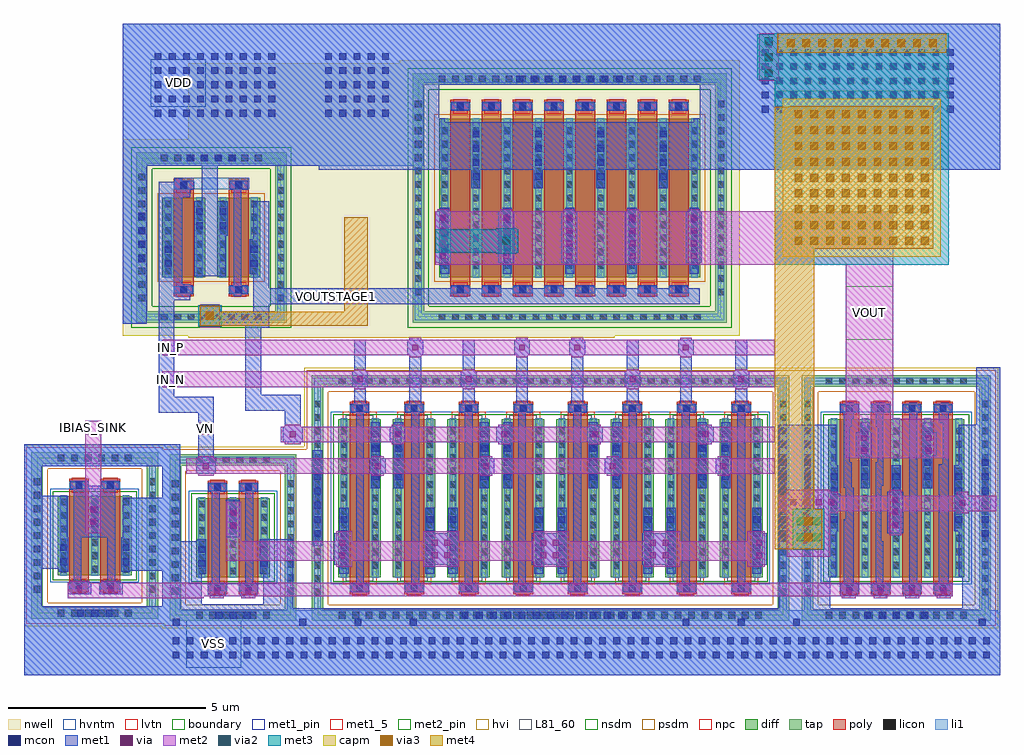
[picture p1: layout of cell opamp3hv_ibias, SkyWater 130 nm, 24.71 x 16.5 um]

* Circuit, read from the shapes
.subckt opamp3hv_ibias IBIAS_SINK IN_N IN_P VDD VN VOUT VOUTSTAGE1 VSS
XM1 IBIAS_SINK IBIAS_SINK VSS VSS sky130_fd_pr__nfet_05v0_nvt w=2 l=0.5 m=2
XM2 n1 IBIAS_SINK VSS VSS sky130_fd_pr__nfet_05v0_nvt w=2 l=0.5 m=2
XM3 VN IN_N n1 VSS sky130_fd_pr__nfet_05v0_nvt w=4 l=0.5 m=4
XM4 n1 IN_P VOUTSTAGE1 VSS sky130_fd_pr__nfet_05v0_nvt w=4 l=0.5 m=4
XM5 VOUT IBIAS_SINK VSS VSS sky130_fd_pr__nfet_05v0_nvt w=4 l=0.5 m=4
XM6 VDD VN VN VDD sky130_fd_pr__pfet_g5v0d10v5 w=2 l=0.5
XM7 VOUTSTAGE1 VN VDD VDD sky130_fd_pr__pfet_g5v0d10v5 w=2 l=0.5
XM8 VDD VOUTSTAGE1 VOUT VDD sky130_fd_pr__pfet_g5v0d10v5 w=4 l=0.5 m=8
XC9 VSS VDD sky130_fd_pr__cap_mim_m3_1 w=4 l=4
.ends

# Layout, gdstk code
from math import pi, radians
import gdstk
lib = gdstk.Library(unit=1e-6, precision=1e-09)
def R(c, l, rs):  # rectangles x0, y0, x1, y1
    for r in rs: c.add(gdstk.rectangle(r[:2], r[2:], *l))
def A(c, l, x, y, w, h, nx, ny, dx, dy):  # array of equal rectangles
    R(c, l, [(x+i*dx, y+j*dy, x+i*dx+w, y+j*dy+h) for i in range(nx) for j in range(ny)])
nwell = (64, 20)
diff = (65, 20)
tap = (65, 44)
poly = (66, 20)
licon = (66, 44)
li1 = (67, 20)
mcon = (67, 44)
met1_5 = (68, 5)
met1_pin = (68, 16)
met1 = (68, 20)
via = (68, 44)
met2_pin = (69, 16)
met2 = (69, 20)
via2 = (69, 44)
met3 = (70, 20)
via3 = (70, 44)
met4 = (71, 20)
hvi = (75, 20)
L81_60 = (81, 60)
capm = (89, 44)
nsdm = (93, 44)
psdm = (94, 20)
npc = (95, 20)
hvntm = (125, 20)
lvtn = (125, 44)
boundary = (235, 4)

sky130_fd_pr__pfet_g5v0d = lib.new_cell('sky130_fd_pr__pfet_g5v0d10v5_ZPAR4F')
R(sky130_fd_pr__pfet_g5v0d, nwell, [(-4.305,-3.485,4.305,3.485)])
R(sky130_fd_pr__pfet_g5v0d, diff, [(-3.305,-2,3.305,2)])
R(sky130_fd_pr__pfet_g5v0d, tap, [(-3.975,-3.155,3.975,-2.865), (-3.975,-2.865,-3.685,2.865), (3.685,-2.865,3.975,2.865), (-3.975,2.865,3.975,3.155)])
A(sky130_fd_pr__pfet_g5v0d, poly, -3.015, -2.485, 0.5, 4.97, 8, 1, 0.79, 0)
A(sky130_fd_pr__pfet_g5v0d, licon, -3.315, -3.095, 0.17, 0.17, 20, 2, 0.34, 6.02)
A(sky130_fd_pr__pfet_g5v0d, licon, -3.915, -2.465, 0.17, 0.17, 1, 15, 0, 0.34)
A(sky130_fd_pr__pfet_g5v0d, licon, 3.745, -2.465, 0.17, 0.17, 1, 15, 0, 0.34)
A(sky130_fd_pr__pfet_g5v0d, licon, -2.85, -2.405, 0.17, 0.17, 8, 2, 0.79, 4.64)
A(sky130_fd_pr__pfet_g5v0d, licon, -3.245, -1.785, 0.17, 0.17, 9, 11, 0.79, 0.34)
A(sky130_fd_pr__pfet_g5v0d, li1, -3.015, -2.405, 0.5, 0.17, 8, 2, 0.79, 4.64)
A(sky130_fd_pr__pfet_g5v0d, li1, -3.245, -2.02, 0.17, 4.04, 9, 1, 0.79, 0)
R(sky130_fd_pr__pfet_g5v0d, li1, [(-3.915,-3.095,3.915,-2.925), (-3.915,-2.925,-3.745,2.925), (3.745,-2.925,3.915,2.925), (-3.915,2.925,3.915,3.095)])
A(sky130_fd_pr__pfet_g5v0d, mcon, -2.85, -2.405, 0.17, 0.17, 8, 2, 0.79, 4.64)
A(sky130_fd_pr__pfet_g5v0d, mcon, -3.245, -1.705, 0.17, 0.17, 5, 4, 1.58, 0.36)
A(sky130_fd_pr__pfet_g5v0d, mcon, -2.455, 0.455, 0.17, 0.17, 4, 4, 1.58, 0.36)
A(sky130_fd_pr__pfet_g5v0d, mcon, -1.345, 2.925, 0.17, 0.17, 8, 1, 0.36, 0)
A(sky130_fd_pr__pfet_g5v0d, met1, -2.995, -2.435, 0.46, 0.23, 8, 2, 0.79, 4.64)
A(sky130_fd_pr__pfet_g5v0d, met1, -3.275, -1.915, 0.23, 1.67, 5, 1, 1.58, 0)
A(sky130_fd_pr__pfet_g5v0d, met1, -2.485, 0.245, 0.23, 1.67, 4, 1, 1.58, 0)
R(sky130_fd_pr__pfet_g5v0d, met1, [(-1.56,2.895,1.56,3.125)])
R(sky130_fd_pr__pfet_g5v0d, hvi, [(-4.305,-3.485,4.305,3.485)])
R(sky130_fd_pr__pfet_g5v0d, nsdm, [(-4.1,-3.28,4.1,-2.74), (-4.1,-2.74,-3.56,2.74), (3.56,-2.74,4.1,2.74), (-4.1,2.74,4.1,3.28)])
R(sky130_fd_pr__pfet_g5v0d, psdm, [(-3.43,-2.125,3.43,2.125)])
A(sky130_fd_pr__pfet_g5v0d, npc, -2.95, -2.505, 0.37, 0.37, 8, 2, 0.79, 4.64)
R(sky130_fd_pr__pfet_g5v0d, boundary, [(-3.83,-3.01,3.83,3.01)])

c_sky130_fd_pr__pfet_g5v0d = lib.new_cell('sky130_fd_pr__pfet_g5v0d10v5_F6REXY')
R(c_sky130_fd_pr__pfet_g5v0d, nwell, [(-2.235,-2.485,2.235,2.485)])
R(c_sky130_fd_pr__pfet_g5v0d, diff, [(-1.235,-1,-0.155,1), (0.155,-1,1.235,1)])
R(c_sky130_fd_pr__pfet_g5v0d, tap, [(-1.905,-2.155,1.905,-1.865), (-1.905,-1.865,-1.615,1.865), (1.615,-1.865,1.905,1.865), (-1.905,1.865,1.905,2.155)])
R(c_sky130_fd_pr__pfet_g5v0d, poly, [(-0.945,-1.485,-0.445,1.485), (0.445,-1.485,0.945,1.485)])
A(c_sky130_fd_pr__pfet_g5v0d, licon, -1.275, -2.095, 0.17, 0.17, 8, 2, 0.34, 4.02)
A(c_sky130_fd_pr__pfet_g5v0d, licon, -1.845, -1.615, 0.17, 0.17, 1, 10, 0, 0.34)
A(c_sky130_fd_pr__pfet_g5v0d, licon, 1.675, -1.615, 0.17, 0.17, 1, 10, 0, 0.34)
A(c_sky130_fd_pr__pfet_g5v0d, licon, -1.175, -0.935, 0.17, 0.17, 1, 6, 0, 0.34)
A(c_sky130_fd_pr__pfet_g5v0d, licon, -0.385, -0.935, 0.17, 0.17, 1, 6, 0, 0.34)
A(c_sky130_fd_pr__pfet_g5v0d, licon, 0.215, -0.935, 0.17, 0.17, 1, 6, 0, 0.34)
A(c_sky130_fd_pr__pfet_g5v0d, licon, 1.005, -0.935, 0.17, 0.17, 1, 6, 0, 0.34)
R(c_sky130_fd_pr__pfet_g5v0d, licon, [(-0.78,-1.405,-0.61,-1.235), (0.61,-1.405,0.78,-1.235), (-0.78,1.235,-0.61,1.405), (0.61,1.235,0.78,1.405)])
R(c_sky130_fd_pr__pfet_g5v0d, li1, [(-1.845,-2.095,1.845,-1.925), (-1.845,-1.925,-1.675,1.925), (1.675,-1.925,1.845,1.925), (-0.945,-1.405,-0.445,-1.235), (0.445,-1.405,0.945,-1.235), (-1.175,-1.02,-1.005,1.02), (-0.385,-1.02,-0.215,1.02), (0.215,-1.02,0.385,1.02), (1.005,-1.02,1.175,1.02), (-0.945,1.235,-0.445,1.405), (0.445,1.235,0.945,1.405), (-1.845,1.925,1.845,2.095)])
A(c_sky130_fd_pr__pfet_g5v0d, mcon, -1.845, -0.625, 0.17, 0.17, 1, 4, 0, 0.36)
A(c_sky130_fd_pr__pfet_g5v0d, mcon, -0.625, 1.925, 0.17, 0.17, 4, 1, 0.36, 0)
R(c_sky130_fd_pr__pfet_g5v0d, mcon, [(-0.78,-1.405,-0.61,-1.235), (0.61,-1.405,0.78,-1.235), (-1.175,-0.745,-1.005,-0.575), (1.005,-0.745,1.175,-0.575), (-1.175,-0.385,-1.005,-0.215), (1.005,-0.385,1.175,-0.215), (-0.385,0.215,-0.215,0.385), (0.215,0.215,0.385,0.385), (-0.385,0.575,-0.215,0.745), (0.215,0.575,0.385,0.745), (-0.78,1.235,-0.61,1.405), (0.61,1.235,0.78,1.405)])
R(c_sky130_fd_pr__pfet_g5v0d, met1, [(-0.925,-1.435,-0.465,-1.205), (0.465,-1.435,0.925,-1.205), (-1.205,-0.915,-0.975,-0.045), (0.975,-0.915,1.205,-0.045), (-1.875,-0.83,-1.645,0.83), (-0.415,0.045,-0.185,0.915), (0.185,0.045,0.415,0.915), (-0.925,1.205,-0.465,1.435), (0.465,1.205,0.925,1.435), (-0.73,1.895,0.73,2.125)])
R(c_sky130_fd_pr__pfet_g5v0d, hvi, [(-2.235,-2.485,2.235,2.485)])
R(c_sky130_fd_pr__pfet_g5v0d, nsdm, [(-2.03,-2.28,2.03,-1.74), (-2.03,-1.74,-1.49,1.74), (1.49,-1.74,2.03,1.74), (-2.03,1.74,2.03,2.28)])
R(c_sky130_fd_pr__pfet_g5v0d, psdm, [(-1.36,-1.125,1.36,1.125)])
R(c_sky130_fd_pr__pfet_g5v0d, npc, [(-0.88,-1.505,-0.51,-1.135), (0.51,-1.505,0.88,-1.135), (-0.88,1.135,-0.51,1.505), (0.51,1.135,0.88,1.505)])
R(c_sky130_fd_pr__pfet_g5v0d, boundary, [(-1.76,-2.01,1.76,2.01)])

sky130_fd_pr__nfet_g5v0d = lib.new_cell('sky130_fd_pr__nfet_g5v0d10v5_R4FM4P')
R(sky130_fd_pr__nfet_g5v0d, diff, [(-1.725,-2,1.725,2)])
R(sky130_fd_pr__nfet_g5v0d, tap, [(-2.395,-3.11,2.395,-2.82), (-2.395,-2.82,-2.105,2.82), (2.105,-2.82,2.395,2.82), (-2.395,2.82,2.395,3.11)])
A(sky130_fd_pr__nfet_g5v0d, poly, -1.435, -2.44, 0.5, 4.88, 4, 1, 0.79, 0)
A(sky130_fd_pr__nfet_g5v0d, licon, -1.785, -3.05, 0.17, 0.17, 11, 2, 0.34, 5.93)
A(sky130_fd_pr__nfet_g5v0d, licon, -2.335, -2.465, 0.17, 0.17, 1, 15, 0, 0.34)
A(sky130_fd_pr__nfet_g5v0d, licon, 2.165, -2.465, 0.17, 0.17, 1, 15, 0, 0.34)
A(sky130_fd_pr__nfet_g5v0d, licon, -1.27, -2.36, 0.17, 0.17, 4, 2, 0.79, 4.55)
A(sky130_fd_pr__nfet_g5v0d, licon, -1.665, -1.785, 0.17, 0.17, 5, 11, 0.79, 0.34)
A(sky130_fd_pr__nfet_g5v0d, li1, -1.435, -2.36, 0.5, 0.17, 4, 2, 0.79, 4.55)
A(sky130_fd_pr__nfet_g5v0d, li1, -1.665, -2.02, 0.17, 4.04, 5, 1, 0.79, 0)
R(sky130_fd_pr__nfet_g5v0d, li1, [(-2.335,-3.05,2.335,-2.88), (-2.335,-2.88,-2.165,2.88), (2.165,-2.88,2.335,2.88), (-2.335,2.88,2.335,3.05)])
A(sky130_fd_pr__nfet_g5v0d, mcon, -0.805, -3.05, 0.17, 0.17, 5, 1, 0.36, 0)
A(sky130_fd_pr__nfet_g5v0d, mcon, -1.27, -2.36, 0.17, 0.17, 4, 2, 0.79, 4.55)
A(sky130_fd_pr__nfet_g5v0d, mcon, -2.335, -0.985, 0.17, 0.17, 1, 6, 0, 0.36)
A(sky130_fd_pr__nfet_g5v0d, mcon, 2.165, -0.985, 0.17, 0.17, 1, 6, 0, 0.36)
A(sky130_fd_pr__nfet_g5v0d, mcon, -1.665, -0.625, 0.17, 0.17, 3, 3, 1.58, 0.36)
A(sky130_fd_pr__nfet_g5v0d, mcon, -1.665, 0.455, 0.17, 0.17, 5, 1, 0.79, 0)
A(sky130_fd_pr__nfet_g5v0d, mcon, -0.875, 0.815, 0.17, 0.17, 1, 3, 0, 0.36)
A(sky130_fd_pr__nfet_g5v0d, mcon, 0.705, 0.815, 0.17, 0.17, 1, 3, 0, 0.36)
A(sky130_fd_pr__nfet_g5v0d, met1, -1.415, -2.39, 0.46, 0.23, 4, 2, 0.79, 4.55)
A(sky130_fd_pr__nfet_g5v0d, met1, -1.695, -0.835, 0.23, 1.67, 3, 1, 1.58, 0)
R(sky130_fd_pr__nfet_g5v0d, met1, [(-0.925,-3.08,0.925,-2.85), (-2.365,-1.21,-2.135,1.21), (2.135,-1.21,2.365,1.21), (-0.905,0.245,-0.675,1.915), (0.675,0.245,0.905,1.915)])
R(sky130_fd_pr__nfet_g5v0d, hvi, [(-2.58,-3.295,2.58,3.295)])
R(sky130_fd_pr__nfet_g5v0d, nsdm, [(-1.85,-2.125,1.85,2.125)])
R(sky130_fd_pr__nfet_g5v0d, psdm, [(-2.52,-3.235,2.52,-2.695), (-2.52,-2.695,-1.98,2.695), (1.98,-2.695,2.52,2.695), (-2.52,2.695,2.52,3.235)])
A(sky130_fd_pr__nfet_g5v0d, npc, -1.37, -2.46, 0.37, 0.37, 4, 2, 0.79, 4.55)
R(sky130_fd_pr__nfet_g5v0d, hvntm, [(-1.91,-2.185,1.91,2.185)])
R(sky130_fd_pr__nfet_g5v0d, boundary, [(-2.25,-2.965,2.25,2.965)])

c_sky130_fd_pr__nfet_g5v0d = lib.new_cell('sky130_fd_pr__nfet_g5v0d10v5_HU3XD6')
R(c_sky130_fd_pr__nfet_g5v0d, diff, [(-0.935,-1,0.935,1)])
R(c_sky130_fd_pr__nfet_g5v0d, tap, [(-1.605,-2.11,1.605,-1.82), (-1.605,-1.82,-1.315,1.82), (1.315,-1.82,1.605,1.82), (-1.605,1.82,1.605,2.11)])
R(c_sky130_fd_pr__nfet_g5v0d, poly, [(-0.645,-1.44,-0.145,1.44), (0.145,-1.44,0.645,1.44)])
A(c_sky130_fd_pr__nfet_g5v0d, licon, -0.935, -2.05, 0.17, 0.17, 6, 2, 0.34, 3.93)
A(c_sky130_fd_pr__nfet_g5v0d, licon, -1.545, -1.445, 0.17, 0.17, 1, 9, 0, 0.34)
A(c_sky130_fd_pr__nfet_g5v0d, licon, 1.375, -1.445, 0.17, 0.17, 1, 9, 0, 0.34)
A(c_sky130_fd_pr__nfet_g5v0d, licon, -0.875, -0.935, 0.17, 0.17, 3, 6, 0.79, 0.34)
R(c_sky130_fd_pr__nfet_g5v0d, licon, [(-0.48,-1.36,-0.31,-1.19), (0.31,-1.36,0.48,-1.19), (-0.48,1.19,-0.31,1.36), (0.31,1.19,0.48,1.36)])
A(c_sky130_fd_pr__nfet_g5v0d, li1, -0.875, -1.02, 0.17, 2.04, 3, 1, 0.79, 0)
R(c_sky130_fd_pr__nfet_g5v0d, li1, [(-1.545,-2.05,1.545,-1.88), (-1.545,-1.88,-1.375,1.88), (1.375,-1.88,1.545,1.88), (-0.645,-1.36,-0.145,-1.19), (0.145,-1.36,0.645,-1.19), (-0.645,1.19,-0.145,1.36), (0.145,1.19,0.645,1.36), (-1.545,1.88,1.545,2.05)])
A(c_sky130_fd_pr__nfet_g5v0d, mcon, -0.445, -2.05, 0.17, 0.17, 3, 1, 0.36, 0)
R(c_sky130_fd_pr__nfet_g5v0d, mcon, [(-0.48,-1.36,-0.31,-1.19), (0.31,-1.36,0.48,-1.19), (-0.875,-0.745,-0.705,-0.575), (0.705,-0.745,0.875,-0.575), (-0.875,-0.385,-0.705,-0.215), (0.705,-0.385,0.875,-0.215), (-0.085,0.215,0.085,0.385), (-0.085,0.575,0.085,0.745), (-0.48,1.19,-0.31,1.36), (0.31,1.19,0.48,1.36)])
R(c_sky130_fd_pr__nfet_g5v0d, met1, [(-0.61,-2.08,0.61,-1.85), (-0.625,-1.39,-0.165,-1.16), (0.165,-1.39,0.625,-1.16), (-0.905,-0.915,-0.675,-0.045), (0.675,-0.915,0.905,-0.045), (-0.115,0.045,0.115,0.915), (-0.625,1.16,-0.165,1.39), (0.165,1.16,0.625,1.39)])
R(c_sky130_fd_pr__nfet_g5v0d, hvi, [(-1.79,-2.295,1.79,2.295)])
R(c_sky130_fd_pr__nfet_g5v0d, nsdm, [(-1.06,-1.125,1.06,1.125)])
R(c_sky130_fd_pr__nfet_g5v0d, psdm, [(-1.73,-2.235,1.73,-1.695), (-1.73,-1.695,-1.19,1.695), (1.19,-1.695,1.73,1.695), (-1.73,1.695,1.73,2.235)])
R(c_sky130_fd_pr__nfet_g5v0d, npc, [(-0.58,-1.46,-0.21,-1.09), (0.21,-1.46,0.58,-1.09), (-0.58,1.09,-0.21,1.46), (0.21,1.09,0.58,1.46)])
R(c_sky130_fd_pr__nfet_g5v0d, hvntm, [(-1.12,-1.185,1.12,1.185)])
R(c_sky130_fd_pr__nfet_g5v0d, boundary, [(-1.46,-1.965,1.46,1.965)])

sky130_fd_pr__nfet_03v3_ = lib.new_cell('sky130_fd_pr__nfet_03v3_nvt_7WRH84')
A(sky130_fd_pr__nfet_03v3_, diff, -5.37, -2, 1.08, 4, 8, 1, 1.38, 0)
R(sky130_fd_pr__nfet_03v3_, tap, [(-6.04,-3.11,6.04,-2.82), (-6.04,-2.82,-5.75,2.82), (5.75,-2.82,6.04,2.82), (-6.04,2.82,6.04,3.11)])
A(sky130_fd_pr__nfet_03v3_, poly, -5.08, -2.44, 0.5, 4.88, 8, 1, 1.38, 0)
A(sky130_fd_pr__nfet_03v3_, licon, -5.355, -3.05, 0.17, 0.17, 32, 2, 0.34, 5.93)
A(sky130_fd_pr__nfet_03v3_, licon, -5.98, -2.465, 0.17, 0.17, 1, 15, 0, 0.34)
A(sky130_fd_pr__nfet_03v3_, licon, 5.81, -2.465, 0.17, 0.17, 1, 15, 0, 0.34)
A(sky130_fd_pr__nfet_03v3_, licon, -4.915, -2.36, 0.17, 0.17, 8, 2, 1.38, 4.55)
A(sky130_fd_pr__nfet_03v3_, licon, -5.31, -1.785, 0.17, 0.17, 1, 11, 0, 0.34)
A(sky130_fd_pr__nfet_03v3_, licon, -4.52, -1.785, 0.17, 0.17, 1, 11, 0, 0.34)
A(sky130_fd_pr__nfet_03v3_, licon, -3.93, -1.785, 0.17, 0.17, 1, 11, 0, 0.34)
A(sky130_fd_pr__nfet_03v3_, licon, -3.14, -1.785, 0.17, 0.17, 1, 11, 0, 0.34)
A(sky130_fd_pr__nfet_03v3_, licon, -2.55, -1.785, 0.17, 0.17, 1, 11, 0, 0.34)
A(sky130_fd_pr__nfet_03v3_, licon, -1.76, -1.785, 0.17, 0.17, 1, 11, 0, 0.34)
A(sky130_fd_pr__nfet_03v3_, licon, -1.17, -1.785, 0.17, 0.17, 1, 11, 0, 0.34)
A(sky130_fd_pr__nfet_03v3_, licon, -0.38, -1.785, 0.17, 0.17, 1, 11, 0, 0.34)
A(sky130_fd_pr__nfet_03v3_, licon, 0.21, -1.785, 0.17, 0.17, 1, 11, 0, 0.34)
A(sky130_fd_pr__nfet_03v3_, licon, 1, -1.785, 0.17, 0.17, 1, 11, 0, 0.34)
A(sky130_fd_pr__nfet_03v3_, licon, 1.59, -1.785, 0.17, 0.17, 1, 11, 0, 0.34)
A(sky130_fd_pr__nfet_03v3_, licon, 2.38, -1.785, 0.17, 0.17, 1, 11, 0, 0.34)
A(sky130_fd_pr__nfet_03v3_, licon, 2.97, -1.785, 0.17, 0.17, 1, 11, 0, 0.34)
A(sky130_fd_pr__nfet_03v3_, licon, 3.76, -1.785, 0.17, 0.17, 1, 11, 0, 0.34)
A(sky130_fd_pr__nfet_03v3_, licon, 4.35, -1.785, 0.17, 0.17, 1, 11, 0, 0.34)
A(sky130_fd_pr__nfet_03v3_, licon, 5.14, -1.785, 0.17, 0.17, 1, 11, 0, 0.34)
A(sky130_fd_pr__nfet_03v3_, li1, -5.08, -2.36, 0.5, 0.17, 8, 2, 1.38, 4.55)
R(sky130_fd_pr__nfet_03v3_, li1, [(-5.98,-3.05,5.98,-2.88), (-5.98,-2.88,-5.81,2.88), (5.81,-2.88,5.98,2.88), (-5.31,-2.02,-5.14,2.02), (-4.52,-2.02,-4.35,2.02), (-3.93,-2.02,-3.76,2.02), (-3.14,-2.02,-2.97,2.02), (-2.55,-2.02,-2.38,2.02), (-1.76,-2.02,-1.59,2.02), (-1.17,-2.02,-1,2.02), (-0.38,-2.02,-0.21,2.02), (0.21,-2.02,0.38,2.02), (1,-2.02,1.17,2.02), (1.59,-2.02,1.76,2.02), (2.38,-2.02,2.55,2.02), (2.97,-2.02,3.14,2.02), (3.76,-2.02,3.93,2.02), (4.35,-2.02,4.52,2.02), (5.14,-2.02,5.31,2.02), (-5.98,2.88,5.98,3.05)])
A(sky130_fd_pr__nfet_03v3_, mcon, -2.245, -3.05, 0.17, 0.17, 13, 1, 0.36, 0)
A(sky130_fd_pr__nfet_03v3_, mcon, -4.915, -2.36, 0.17, 0.17, 8, 2, 1.38, 4.55)
A(sky130_fd_pr__nfet_03v3_, mcon, -5.31, -1.705, 0.17, 0.17, 1, 4, 0, 0.36)
A(sky130_fd_pr__nfet_03v3_, mcon, -3.14, -1.705, 0.17, 0.17, 1, 4, 0, 0.36)
A(sky130_fd_pr__nfet_03v3_, mcon, -2.55, -1.705, 0.17, 0.17, 1, 4, 0, 0.36)
A(sky130_fd_pr__nfet_03v3_, mcon, -0.38, -1.705, 0.17, 0.17, 1, 4, 0, 0.36)
A(sky130_fd_pr__nfet_03v3_, mcon, 0.21, -1.705, 0.17, 0.17, 1, 4, 0, 0.36)
A(sky130_fd_pr__nfet_03v3_, mcon, 2.38, -1.705, 0.17, 0.17, 1, 4, 0, 0.36)
A(sky130_fd_pr__nfet_03v3_, mcon, 2.97, -1.705, 0.17, 0.17, 1, 4, 0, 0.36)
A(sky130_fd_pr__nfet_03v3_, mcon, 5.14, -1.705, 0.17, 0.17, 1, 4, 0, 0.36)
A(sky130_fd_pr__nfet_03v3_, mcon, -5.98, -0.985, 0.17, 0.17, 1, 6, 0, 0.36)
A(sky130_fd_pr__nfet_03v3_, mcon, 5.81, -0.985, 0.17, 0.17, 1, 6, 0, 0.36)
A(sky130_fd_pr__nfet_03v3_, mcon, -4.52, 0.455, 0.17, 0.17, 1, 4, 0, 0.36)
A(sky130_fd_pr__nfet_03v3_, mcon, -3.93, 0.455, 0.17, 0.17, 1, 4, 0, 0.36)
A(sky130_fd_pr__nfet_03v3_, mcon, -1.76, 0.455, 0.17, 0.17, 1, 4, 0, 0.36)
A(sky130_fd_pr__nfet_03v3_, mcon, -1.17, 0.455, 0.17, 0.17, 1, 4, 0, 0.36)
A(sky130_fd_pr__nfet_03v3_, mcon, 1, 0.455, 0.17, 0.17, 1, 4, 0, 0.36)
A(sky130_fd_pr__nfet_03v3_, mcon, 1.59, 0.455, 0.17, 0.17, 1, 4, 0, 0.36)
A(sky130_fd_pr__nfet_03v3_, mcon, 3.76, 0.455, 0.17, 0.17, 1, 4, 0, 0.36)
A(sky130_fd_pr__nfet_03v3_, mcon, 4.35, 0.455, 0.17, 0.17, 1, 4, 0, 0.36)
A(sky130_fd_pr__nfet_03v3_, met1, -5.06, -2.39, 0.46, 0.23, 8, 2, 1.38, 4.55)
R(sky130_fd_pr__nfet_03v3_, met1, [(-2.385,-3.08,2.385,-2.85), (-5.34,-1.915,-5.11,-0.245), (-3.17,-1.915,-2.94,-0.245), (-2.58,-1.915,-2.35,-0.245), (-0.41,-1.915,-0.18,-0.245), (0.18,-1.915,0.41,-0.245), (2.35,-1.915,2.58,-0.245), (2.94,-1.915,3.17,-0.245), (5.11,-1.915,5.34,-0.245), (-6.01,-1.21,-5.78,1.21), (5.78,-1.21,6.01,1.21), (-4.55,0.245,-4.32,1.915), (-3.96,0.245,-3.73,1.915), (-1.79,0.245,-1.56,1.915), (-1.2,0.245,-0.97,1.915), (0.97,0.245,1.2,1.915), (1.56,0.245,1.79,1.915), (3.73,0.245,3.96,1.915), (4.32,0.245,4.55,1.915)])
R(sky130_fd_pr__nfet_03v3_, hvi, [(-6.225,-3.295,6.225,3.295)])
A(sky130_fd_pr__nfet_03v3_, L81_60, -5.18, -2.1, 0.7, 4.2, 8, 1, 1.38, 0)
R(sky130_fd_pr__nfet_03v3_, nsdm, [(-5.495,-2.125,5.495,2.125)])
R(sky130_fd_pr__nfet_03v3_, psdm, [(-6.165,-3.235,6.165,-2.695), (-6.165,-2.695,-5.625,2.695), (5.625,-2.695,6.165,2.695), (-6.165,2.695,6.165,3.235)])
A(sky130_fd_pr__nfet_03v3_, npc, -5.015, -2.46, 0.37, 0.37, 8, 2, 1.38, 4.55)
R(sky130_fd_pr__nfet_03v3_, hvntm, [(-5.555,-2.185,5.555,2.185)])
A(sky130_fd_pr__nfet_03v3_, lvtn, -5.26, -2.18, 0.86, 4.36, 8, 1, 1.38, 0)
R(sky130_fd_pr__nfet_03v3_, boundary, [(-5.895,-2.965,5.895,2.965)])

sky130_fd_pr__cap_mim_m3 = lib.new_cell('sky130_fd_pr__cap_mim_m3_1_K8PL49')
R(sky130_fd_pr__cap_mim_m3, met3, [(-2.93,-2.2,2.93,2.2)])
A(sky130_fd_pr__cap_mim_m3, via3, 2.57, -1.9, 0.2, 0.2, 1, 10, 0, 0.4)
A(sky130_fd_pr__cap_mim_m3, via3, -2.43, -1.7, 0.2, 0.2, 9, 9, 0.4, 0.4)
R(sky130_fd_pr__cap_mim_m3, met4, [(2.43,-2.14,2.91,2.14), (-2.535,-1.805,1.075,1.805)])
R(sky130_fd_pr__cap_mim_m3, capm, [(-2.73,-2,1.27,2)])
R(sky130_fd_pr__cap_mim_m3, boundary, [(-2.93,-2.2,1.47,2.2)])

opamp3hv_ibias = lib.new_cell('opamp3hv_ibias')
R(opamp3hv_ibias, nwell, [(0.45,7.15,11.25,14.1)])
R(opamp3hv_ibias, li1, [(-3.7,-1.4,21,0.2), (-3.7,0.2,20.95,0.25), (-3.7,0.25,0.25,0.35), (-3.7,0.35,-3.25,3.9), (-0.2,0.35,0.25,1.25), (-1.2,1.25,0.25,3.1), (-0.2,3.1,0.25,3.9), (-3.7,3.9,0.25,4.45), (-1.2,7.5,-0.6,11.5), (0.1,10.9,2,11.2), (13.9,11.4,21,13.6), (-1.2,11.5,6.4,13.6), (-1.2,13.6,21,15.1)])
A(opamp3hv_ibias, mcon, 0.055, -0.965, 0.17, 0.17, 58, 2, 0.36, 0.36)
A(opamp3hv_ibias, mcon, 3.265, -0.14, 0.17, 0.17, 3, 1, 1.4, 0)
A(opamp3hv_ibias, mcon, 12.965, -0.14, 0.17, 0.17, 3, 1, 1.4, 0)
A(opamp3hv_ibias, mcon, -0.4, 12.745, 0.17, 0.17, 9, 5, 0.36, 0.36)
A(opamp3hv_ibias, mcon, 3.92, 12.745, 0.17, 0.17, 5, 5, 0.36, 0.36)
A(opamp3hv_ibias, mcon, 14.975, 12.845, 0.17, 0.17, 14, 5, 0.36, 0.36)
R(opamp3hv_ibias, mcon, [(0.065,-0.14,0.235,0.03), (20.465,-0.14,20.635,0.03)])
R(opamp3hv_ibias, met1_5, [(0.7,4.7,1.1,5), (4,8,4.4,8.4)])
R(opamp3hv_ibias, met1_pin, [(0.4,-1.2,1.8,0), (-0.5,13,0.9,14.2)])
A(opamp3hv_ibias, met1, 16.95, 0.6, 0.45, 0.3, 4, 1, 0.8, 0)
A(opamp3hv_ibias, met1, 6.1, 0.7, 0.2, 4.55, 3, 1, 1.35, 0)
A(opamp3hv_ibias, met1, 6.7, 9.05, 0.4, 1.3, 4, 1, 1.6, 0)
R(opamp3hv_ibias, met1, [(-3.7,-1.4,21,0.3), (-3.7,0.3,3.1,0.35), (15.4,0.3,16.7,1.1), (20.05,0.3,21,1.1), (-3.7,0.35,-3.25,1.3), (-0.2,0.35,3.1,0.4), (-0.2,0.4,0.8,1.25), (2.35,0.4,3.1,2.05), (1.9,0.55,2.1,0.6), (0.95,0.6,1.4,0.9), (1.75,0.6,2.2,0.9), (-2.6,0.65,-2,0.95), (-1.8,0.65,-1.2,0.95), (4.7,0.7,4.9,5.25), (10.2,0.75,10.4,5.25), (11.6,0.75,11.8,5.25), (12.95,0.75,13.15,5.25), (14.35,0.75,14.55,5.25), (1.05,0.9,1.25,3.45), (1.9,0.9,2.1,3.45), (17.05,0.9,17.3,2.55), (17.85,0.9,18.05,2), (18.7,0.9,18.9,5.5), (19.45,0.9,19.7,3.95), (-2.45,0.95,-2.25,2.1), (-1.6,0.95,-1.4,2.1), (15.4,1.1,16.85,2.75), (19.95,1.1,21,2.75), (-1.2,1.25,0.8,2), (-3.7,1.3,-2.6,3.15), (4.15,1.4,4.5,2.2), (6.5,1.4,7.2,2.2), (9.15,1.4,10,2.2), (11.95,1.4,12.75,2.2), (14.75,1.4,15.1,2.2), (-1.2,2,0.25,3.1), (17.85,2,18,3.4), (-2.45,2.1,-1.4,3.38), (1.4,2.1,1.75,3.05), (18.15,2.2,18.55,3.25), (17.1,2.55,17.3,3.35), (15.4,2.75,16.95,3.2), (19.85,2.75,21,3.2), (-0.2,3.1,0.25,3.9), (-3.7,3.15,-3.25,3.9), (15.4,3.2,16.85,4.95), (19.95,3.2,21,4.95), (17.05,3.35,17.25,4), (-2.35,3.38,-1.4,3.4), (-1.6,3.4,-1.4,3.43), (17.85,3.4,18.05,4), (0.65,3.7,1.15,4.1), (5.05,3.7,5.45,4.1), (7.8,3.7,8.2,4.1), (11,3.7,11.4,4.1), (13.8,3.7,14.2,4.1), (-3.7,3.9,0.25,4.45), (19.55,3.95,19.7,5), (17.05,4,17.2,4.9), (17.9,4,18.05,4.9), (0.7,4.1,1.1,5.25), (17.35,4.15,17.75,4.75), (19.05,4.15,19.4,4.75), (2.85,4.5,3.35,4.9), (5.55,4.5,5.95,4.9), (8.25,4.5,8.65,4.9), (10.55,4.5,10.95,4.9), (13.35,4.5,13.75,4.9), (2.9,4.9,3.3,5.3), (17.05,4.9,17.25,5.1), (17.85,4.9,18.05,5.4), (20.4,4.95,21,6.4), (19.45,5,19.7,5.45), (17.05,5.1,17.3,5.4), (-0.3,5.25,1.1,5.65), (4.65,5.25,4.95,5.9), (6.05,5.25,6.35,6.7), (7.4,5.25,7.7,5.9), (8.75,5.25,9.05,6.7), (10.15,5.25,10.45,6.7), (11.55,5.25,11.85,5.9), (12.9,5.25,13.2,6.7), (14.3,5.25,14.6,5.9), (1.9,5.3,3.3,5.7), (17.1,5.4,17.3,5.5), (17.85,5.4,18.1,5.5), (19.5,5.45,19.7,5.5), (-0.3,5.65,0.1,8.1), (1.9,5.7,2.3,7.4), (4.6,5.9,5,6.3), (7.35,5.9,7.75,6.3), (11.5,5.9,11.9,6.3), (14.25,5.9,14.65,6.3), (4.65,6.3,4.95,7.1), (7.4,6.3,7.7,7.1), (11.55,6.3,11.85,7.1), (14.3,6.3,14.6,7.1), (6,6.7,6.4,7.1), (8.7,6.7,9.1,7.1), (10.1,6.7,10.5,7.1), (12.85,6.7,13.25,7.1), (1.9,7.4,2.5,7.45), (0.7,7.45,2.5,7.8), (-1.2,7.5,-0.6,11.5), (0.7,7.8,1.3,7.95), (2.1,7.8,2.5,8), (2.1,8,13.4,8.4), (-0.3,8.1,0.5,8.5), (1.6,8.2,1.8,11.1), (2.1,8.4,2.5,10.6), (-0.3,8.5,0.3,10.7), (0.6,8.7,1.4,10.6), (13.05,9.05,13.45,10.35), (0.8,10.6,1.2,11.5), (-0.3,10.7,0.5,10.9), (-0.3,10.9,0.6,11.1), (0.1,11.1,0.3,11.2), (3.75,11.4,21,11.5), (-1.2,11.5,21,12.6), (-1.2,12.6,6.95,12.7), (13.25,12.6,21,12.7), (-1.2,12.7,6.8,13.55), (13.4,12.7,21,13.55), (-1.2,13.55,21,15.1)])
A(opamp3hv_ibias, via, 17.1, 0.675, 0.15, 0.15, 4, 1, 0.8, 0)
A(opamp3hv_ibias, via, 16.015, 1.945, 0.15, 0.15, 1, 3, 0, 0.32)
A(opamp3hv_ibias, via, 18.275, 2.33, 0.15, 0.15, 1, 3, 0, 0.32)
A(opamp3hv_ibias, via, 15.695, 2.905, 0.15, 0.15, 4, 1, 0.32, 0)
A(opamp3hv_ibias, via, 6.825, 9.145, 0.15, 0.15, 4, 4, 1.6, 0.32)
A(opamp3hv_ibias, via, 13.175, 9.145, 0.15, 0.15, 1, 4, 0, 0.32)
A(opamp3hv_ibias, via, 15.075, 13.855, 0.15, 0.15, 1, 3, 0, 0.32)
R(opamp3hv_ibias, via, [(1.1,0.675,1.25,0.825), (1.9,0.675,2.05,0.825), (-2.375,0.725,-2.225,0.875), (-1.575,0.725,-1.425,0.875), (4.275,1.565,4.425,1.715), (6.615,1.565,6.765,1.715), (6.935,1.565,7.085,1.715), (9.365,1.565,9.515,1.715), (9.685,1.565,9.835,1.715), (12.14,1.565,12.29,1.715), (12.46,1.565,12.61,1.715), (14.825,1.565,14.975,1.715), (4.275,1.885,4.425,2.035), (6.615,1.885,6.765,2.035), (6.935,1.885,7.085,2.035), (9.365,1.885,9.515,2.035), (9.685,1.885,9.835,2.035), (12.14,1.885,12.29,2.035), (12.46,1.885,12.61,2.035), (14.825,1.885,14.975,2.035), (1.525,2.315,1.675,2.465), (-2.025,2.415,-1.875,2.565), (1.525,2.635,1.675,2.785), (-2.025,2.735,-1.875,2.885), (19.975,2.9,20.125,3.05), (0.825,3.825,0.975,3.975), (5.175,3.825,5.325,3.975), (7.925,3.825,8.075,3.975), (11.125,3.825,11.275,3.975), (13.925,3.825,14.075,3.975), (17.475,4.215,17.625,4.365), (19.125,4.215,19.275,4.365), (17.475,4.535,17.625,4.685), (19.125,4.535,19.275,4.685), (3.025,4.625,3.175,4.775), (5.675,4.625,5.825,4.775), (8.375,4.625,8.525,4.775), (10.675,4.625,10.825,4.775), (13.475,4.625,13.625,4.775), (4.725,6.025,4.875,6.175), (7.475,6.025,7.625,6.175), (11.625,6.025,11.775,6.175), (14.375,6.025,14.525,6.175), (6.125,6.825,6.275,6.975), (8.825,6.825,8.975,6.975), (10.225,6.825,10.375,6.975), (12.975,6.825,13.125,6.975), (0.925,7.625,1.075,7.775)])
R(opamp3hv_ibias, met2_pin, [(-2.15,4.7,-1.75,5.05), (-0.2,5.9,0.2,6.3), (-0.2,6.7,0.2,7.1), (17.1,7.1,18.3,8.45)])
A(opamp3hv_ibias, met2, 17, 0.55, 0.35, 0.05, 4, 1, 0.8, 0)
A(opamp3hv_ibias, met2, 6.4, 1.35, 0.9, 0.15, 3, 1, 2.8, 0)
A(opamp3hv_ibias, met2, 6.4, 2, 0.9, 0.25, 3, 1, 2.8, 0)
A(opamp3hv_ibias, met2, 6.75, 10.35, 0.3, 0.05, 4, 1, 1.6, 0)
R(opamp3hv_ibias, met2, [(-2.6,0.55,0.85,0.6), (1,0.55,1.35,0.6), (1.8,0.55,2.15,0.6), (-2.6,0.6,19.8,0.95), (-2.55,0.95,-2.05,1), (-1.75,0.95,-1.25,1), (4.2,1.35,4.6,1.5), (14.6,1.35,15.05,1.5), (1.4,1.5,15.05,2), (15.6,1.6,16.7,2.7), (1.4,2,1.8,3), (4.2,2,4.6,2.25), (14.6,2,15.05,2.25), (18.2,2.15,18.5,2.75), (-2.15,2.2,-1.75,5.05), (15.55,2.7,16.9,2.75), (19.9,2.7,20.2,2.75), (15.4,2.75,20.9,3.15), (15.55,3.15,16.9,3.2), (18.2,3.15,18.5,3.3), (19.9,3.15,20.2,3.25), (15.6,3.2,16.9,3.25), (15.6,3.25,16.7,3.3), (0.7,3.65,1.1,3.7), (5.1,3.65,5.4,3.7), (7.85,3.65,8.15,3.7), (11.05,3.65,11.35,3.7), (13.85,3.65,14.15,3.7), (0.4,3.7,15.3,4.1), (0.7,4.1,1.1,4.15), (5.1,4.1,5.4,4.15), (7.85,4.1,8.15,4.15), (11.05,4.1,11.35,4.15), (13.85,4.1,14.15,4.15), (17.1,4.1,19.7,5.1), (2.9,4.45,3.3,4.5), (5.6,4.45,5.9,4.5), (8.3,4.45,8.6,4.5), (10.6,4.45,10.9,4.5), (13.4,4.45,13.7,4.5), (2.8,4.5,15.3,4.9), (2.9,4.9,3.3,4.95), (5.6,4.9,5.9,4.95), (8.3,4.9,8.6,4.95), (10.6,4.9,10.9,4.95), (13.4,4.9,13.7,4.95), (17.1,5.1,18.3,9), (4.65,5.85,4.95,5.9), (7.4,5.85,7.7,5.9), (11.55,5.85,11.85,5.9), (14.3,5.85,14.6,5.9), (-0.2,5.9,15.3,6.3), (4.65,6.3,4.95,6.35), (7.4,6.3,7.7,6.35), (11.55,6.3,11.85,6.35), (14.3,6.3,14.6,6.35), (6.05,6.65,6.35,6.7), (8.75,6.65,9.05,6.7), (10.15,6.65,10.45,6.7), (12.9,6.65,13.2,6.7), (-0.2,6.7,15.3,7.1), (6.05,7.1,6.35,7.15), (8.75,7.1,9.05,7.15), (10.15,7.1,10.45,7.15), (12.9,7.1,13.2,7.15), (0.75,7.4,1.25,8), (6.7,9,18.3,10.35), (13.1,10.35,13.4,10.4), (14.9,13.65,15.4,14.85)])
A(opamp3hv_ibias, via2, 15.05, 13.75, 0.2, 0.2, 1, 3, 0, 0.4)
R(opamp3hv_ibias, via2, [(15.85,2,16.05,2.2), (16.25,2,16.45,2.2), (15.85,2.4,16.05,2.6), (16.25,2.4,16.45,2.6), (0.9,7.6,1.1,7.8), (8.4,9.5,8.6,9.7)])
R(opamp3hv_ibias, met3, [(15.75,1.775,16.55,2.825), (0.7,7.425,1.3,7.975), (8.25,9.275,8.75,9.3), (6.7,9.3,8.8,9.9), (8.25,9.9,8.75,9.925), (14.85,13.675,15.45,13.7), (14.85,13.7,16.1,14.8), (14.85,14.8,15.45,14.825)])
R(opamp3hv_ibias, via3, [(16.05,2,16.25,2.2), (16.05,2.4,16.25,2.6), (0.9,7.6,1.1,7.8)])
R(opamp3hv_ibias, met4, [(15.795,1.795,16.505,1.8), (15.3,1.8,16.505,2.805), (15.3,2.805,16.3,10.8), (0.745,7.445,1.255,7.45), (0.745,7.45,5,7.8), (0.745,7.8,1.255,7.955), (4.4,7.8,5,10.2), (15.3,10.8,16,13)])
R(opamp3hv_ibias, hvi, [(3.375,-0.205,3.395,4.385), (0.45,7.15,11.25,7.2), (3.27,7.2,5.8,12.17), (0.45,12.17,5.8,14.1)])
R(opamp3hv_ibias, psdm, [(3.315,-0.145,3.455,4.325), (15.785,-0.145,15.855,6.325), (-0.185,-0.095,-0.145,4.325)])
opamp3hv_ibias.add(gdstk.Reference(sky130_fd_pr__pfet_g5v0d, (10.105,10.685)))
opamp3hv_ibias.add(gdstk.Reference(c_sky130_fd_pr__pfet_g5v0d, (1.035,9.685)))
opamp3hv_ibias.add(gdstk.Reference(sky130_fd_pr__nfet_g5v0d, (18.375,3.09)))
opamp3hv_ibias.add(gdstk.Reference(c_sky130_fd_pr__nfet_g5v0d, (1.585,2.09)))
opamp3hv_ibias.add(gdstk.Reference(c_sky130_fd_pr__nfet_g5v0d, (-1.915,2.14)))
opamp3hv_ibias.add(gdstk.Reference(sky130_fd_pr__nfet_03v3_, (9.62,3.09)))
opamp3hv_ibias.add(gdstk.Reference(sky130_fd_pr__cap_mim_m3, (17.5,11.93), rotation=pi/2))
opamp3hv_ibias.add(gdstk.Label('VN', (0.9,4.85), layer=68, texttype=5))
opamp3hv_ibias.add(gdstk.Label('VOUTSTAGE1', (4.2,8.2), layer=68, texttype=5))
opamp3hv_ibias.add(gdstk.Label('IN_N', (0,6.1), layer=69, texttype=5))
opamp3hv_ibias.add(gdstk.Label('IN_P', (0,6.9), layer=69, texttype=5))
opamp3hv_ibias.add(gdstk.Label('VOUT', (17.7,7.775), layer=69, texttype=5))
opamp3hv_ibias.add(gdstk.Label('VDD', (0.2,13.6), layer=68, texttype=5))
opamp3hv_ibias.add(gdstk.Label('VSS', (1.1,-0.6), layer=68, texttype=5))
opamp3hv_ibias.add(gdstk.Label('IBIAS_SINK', (-1.95,4.875), layer=69, texttype=5))

lib.write_gds('opamp3hv_ibias.gds')
